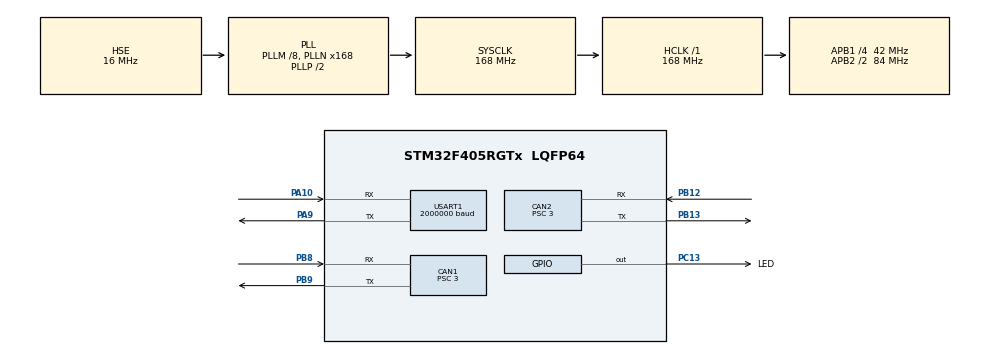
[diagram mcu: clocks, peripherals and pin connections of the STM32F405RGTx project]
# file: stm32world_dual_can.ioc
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CAN1.BS1=CAN_BS1_11TQ
CAN1.BS2=CAN_BS2_2TQ
CAN1.CalculateBaudRate=1000000
CAN1.CalculateTimeBit=1000
CAN1.CalculateTimeQuantum=71.42857142857143
CAN1.Mode=CAN_MODE_NORMAL
CAN1.Prescaler=3
CAN2.BS1=CAN_BS1_11TQ
CAN2.BS2=CAN_BS2_2TQ
CAN2.CalculateBaudRate=1000000
CAN2.CalculateTimeBit=1000
CAN2.CalculateTimeQuantum=71.42857142857143
CAN2.Prescaler=3
Mcu.Family=STM32F4
Mcu.Name=STM32F405RGTx
Mcu.Package=LQFP64
NVIC.CAN1_RX0_IRQn=true\:0\:0\:false\:false\:true\:true\:true\:true
NVIC.CAN1_RX1_IRQn=true\:0\:0\:false\:false\:true\:true\:true\:true
NVIC.CAN1_SCE_IRQn=true\:0\:0\:false\:false\:true\:true\:true\:true
NVIC.CAN1_TX_IRQn=true\:0\:0\:false\:false\:true\:true\:true\:true
NVIC.PriorityGroup=NVIC_PRIORITYGROUP_4
PA10.Mode=Asynchronous
PA10.Signal=USART1_RX
PA13.Mode=Trace_Asynchronous_SW
PA13.Signal=SYS_JTMS-SWDIO
PA14.Mode=Trace_Asynchronous_SW
PA14.Signal=SYS_JTCK-SWCLK
PA9.Mode=Asynchronous
PA9.Signal=USART1_TX
PB12.Mode=CAN_Activate
PB12.Signal=CAN2_RX
PB13.Mode=CAN_Activate
PB13.Signal=CAN2_TX
PB3.Mode=Trace_Asynchronous_SW
PB3.Signal=SYS_JTDO-SWO
PB8.Mode=CAN_Activate
PB8.Signal=CAN1_RX
PB9.Mode=CAN_Activate
PB9.Signal=CAN1_TX
PC13-ANTI_TAMP.GPIO_Label=LED
PC13-ANTI_TAMP.GPIO_ModeDefaultOutputPP=GPIO_MODE_OUTPUT_OD
PC13-ANTI_TAMP.GPIO_PuPd=GPIO_NOPULL
PC13-ANTI_TAMP.PinState=GPIO_PIN_SET
PC13-ANTI_TAMP.Signal=GPIO_Output
PH0-OSC_IN.Mode=HSE-External-Oscillator
PH0-OSC_IN.Signal=RCC_OSC_IN
PH1-OSC_OUT.Mode=HSE-External-Oscillator
PH1-OSC_OUT.Signal=RCC_OSC_OUT
ProjectManager.HeapSize=0x200
ProjectManager.StackSize=0x400
ProjectManager.TargetToolchain=STM32CubeIDE
RCC.48MHZClocksFreq_Value=48000000
RCC.AHBFreq_Value=168000000
RCC.APB1CLKDivider=RCC_HCLK_DIV4
RCC.APB1Freq_Value=42000000
RCC.APB1TimFreq_Value=84000000
RCC.APB2CLKDivider=RCC_HCLK_DIV2
RCC.APB2Freq_Value=84000000
RCC.APB2TimFreq_Value=168000000
RCC.CortexFreq_Value=168000000
RCC.HCLKFreq_Value=168000000
RCC.HSE_VALUE=16000000
RCC.HSI_VALUE=16000000
RCC.LSE_VALUE=32768
RCC.PLLM=8
RCC.PLLN=168
RCC.PLLQ=7
RCC.PLLSourceVirtual=RCC_PLLSOURCE_HSE
RCC.SYSCLKFreq_VALUE=168000000
RCC.SYSCLKSource=RCC_SYSCLKSOURCE_PLLCLK
RCC.VCOOutputFreq_Value=336000000
USART1.BaudRate=2000000
USART1.VirtualMode=VM_ASYNC
VP_RNG_VS_RNG.Mode=RNG_Activate
board=custom

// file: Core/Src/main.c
/* USER CODE BEGIN Header */
/**
 ******************************************************************************
 * @file           : main.c
 * @brief          : Main program body
 ******************************************************************************
 * @attention
 *
 * Copyright (c) 2024 Lars Boegild Thomsen <lth@stm32world.com>
 * All rights reserved.
 *
 * This software is licensed under terms that can be found in the LICENSE file
 * in the root directory of this software component.
 * If no LICENSE file comes with this software, it is provided AS-IS.
 *
 ******************************************************************************
 */
/* USER CODE END Header */
#include "main.h"

/* USER CODE BEGIN Includes */
#include <stdlib.h>
#include <stdio.h>
#include <string.h>
/* USER CODE END Includes */

/* USER CODE BEGIN PD */

// Example filter
#define CAN_RX_ID    0b10111111100
#define CAN_RX_MASK  0b11111111100

// Our Message IDs
#define CAN_ID_UPT     0b10111111100   // 0x5fc - 1532
#define CAN_ID_RND     0b10111111101   // 0x5fd - 1533

#define CAN_FILTER_ID_REMOTE 0b00010000

/* USER CODE END PD */

CAN_HandleTypeDef hcan1;
CAN_HandleTypeDef hcan2;

RNG_HandleTypeDef hrng;

UART_HandleTypeDef huart1;

/* USER CODE BEGIN PV */

CAN_TxHeaderTypeDef TxHeader;
CAN_RxHeaderTypeDef RxHeader;

uint8_t TxData[8];
uint8_t RxData[8];

uint32_t msg_count = 0;

/* USER CODE END PV */

void SystemClock_Config(void);
static void MX_GPIO_Init(void);
static void MX_USART1_UART_Init(void);
static void MX_CAN1_Init(void);
static void MX_CAN2_Init(void);
static void MX_RNG_Init(void);

/* USER CODE BEGIN 0 */

// Send printf to uart1
int _write(int fd, char *ptr, int len) {
    HAL_StatusTypeDef hstatus;

    if (fd == 1 || fd == 2) {
        hstatus = HAL_UART_Transmit(&huart1, (uint8_t*) ptr, len, HAL_MAX_DELAY);
        if (hstatus == HAL_OK)
            return len;
        else
            return -1;
    }
    return -1;
}

// CAN Callbacks

void HAL_CAN_TxMailbox0CompleteCallback(CAN_HandleTypeDef *hcan) {
    printf("HAL_CAN_TxMailbox0CompleteCallback\n");
}

void HAL_CAN_TxMailbox1CompleteCallback(CAN_HandleTypeDef *hcan) {
    printf("HAL_CAN_TxMailbox1CompleteCallback\n");
}

void HAL_CAN_TxMailbox2CompleteCallback(CAN_HandleTypeDef *hcan) {
    printf("HAL_CAN_TxMailbox2CompleteCallback\n");
}

void HAL_CAN_TxMailbox0AbortCallback(CAN_HandleTypeDef *hcan) {
    printf("HAL_CAN_TxMailbox0AbortCallback\n");
}

void HAL_CAN_TxMailbox1AbortCallback(CAN_HandleTypeDef *hcan) {
    printf("HAL_CAN_TxMailbox1AbortCallback\n");
}

void HAL_CAN_TxMailbox2AbortCallback(CAN_HandleTypeDef *hcan) {
    printf("HAL_CAN_TxMailbox2AbortCallback\n");
}

void HAL_CAN_RxFifo0MsgPendingCallback(CAN_HandleTypeDef *hcan) {
    printf("HAL_CAN_RxFifo0MsgPendingCallback\n");
    if (HAL_CAN_GetRxMessage(hcan, CAN_RX_FIFO0, &RxHeader, RxData) != HAL_OK) {
        printf("Error receiving\n");
        Error_Handler();
        //printf("Got message %lu - id=0x%04lx type=%lx len=0x%lx, data=%02x%02x%02x%02x%02x%02x%02x%02x\n", msg_count + 1, RxHeader.StdId, RxHeader.RTR, RxHeader.DLC, RxData[0], RxData[1], RxData[2], RxData[3], RxData[4], RxData[5], RxData[6], RxData[7]);
    }

    if (hcan->Instance == CAN1) {
        printf("Got message on CAN1\n");
        if (RxHeader.RTR == CAN_RTR_REMOTE) {
            if (RxHeader.StdId == CAN_ID_UPT) {
                TxHeader.DLC = 4;
                TxHeader.IDE = CAN_ID_STD;
                TxHeader.RTR = CAN_RTR_DATA;
                TxHeader.StdId = CAN_ID_UPT;

                uint32_t upt = uwTick;
                uint32_t mb0;
                if (HAL_CAN_AddTxMessage(&hcan1, &TxHeader, (uint8_t)upt, &mb0) != HAL_OK) {
                    Error_Handler();
                }
            } else if (RxHeader.StdId == CAN_ID_RND) {

            } else {
                printf("Unknown remote request on can 1\n");
            }
        } else {
            printf("Got data message on can1 - should not happen\n");
        }
    } else {
        printf("Got message on CAN1\n");
        if (RxHeader.RTR == CAN_RTR_DATA) {
            if (RxHeader.StdId == CAN_ID_UPT) {
                printf("CAN2 received uptime: %lu", RxData[0]);
            } else if (RxHeader.StdId == CAN_ID_RND) {
                printf("CAN2 received random: %lu", RxData[0]);
            } else {
                printf("Unknown remote request on can 1\n");
            }
        } else {
            printf("Got remote message on can2 - should not happen\n");
        }
    }

}

void HAL_CAN_RxFifo0FullCallback(CAN_HandleTypeDef *hcan) {
    printf("HAL_CAN_RxFifo0FullCallback\n");
}

void HAL_CAN_RxFifo1MsgPendingCallback(CAN_HandleTypeDef *hcan) {
    printf("HAL_CAN_RxFifo1MsgPendingCallback\n");
}

void HAL_CAN_RxFifo1FullCallback(CAN_HandleTypeDef *hcan) {
    printf("HAL_CAN_RxFifo1FullCallback\n");
}

void HAL_CAN_SleepCallback(CAN_HandleTypeDef *hcan) {
    printf("HAL_CAN_SleepCallback\n");
}

void HAL_CAN_WakeUpFromRxMsgCallback(CAN_HandleTypeDef *hcan) {
    printf("HAL_CAN_WakeUpFromRxMsgCallback\n");
}

void HAL_CAN_ErrorCallback(CAN_HandleTypeDef *hcan) {
    printf("HAL_CAN_ErrorCallback\n");
}

/* USER CODE END 0 */

int main(void)
{

  /* MCU Configuration--------------------------------------------------------*/

  /* Reset of all peripherals, Initializes the Flash interface and the Systick. */
  HAL_Init();

  /* Configure the system clock */
  SystemClock_Config();

  /* Initialize all configured peripherals */
  MX_GPIO_Init();
  MX_USART1_UART_Init();
  MX_CAN1_Init();
  MX_CAN2_Init();
  MX_RNG_Init();
  /* USER CODE BEGIN 2 */

    printf("\n\n\n--------\nStarting\n");

    CAN_FilterTypeDef canfilterconfig;

//    canfilterconfig.FilterActivation = CAN_FILTER_ENABLE;
//    canfilterconfig.FilterBank = 0;  // anything between 0 to SlaveStartFilterBank
//    canfilterconfig.SlaveStartFilterBank = 13;  // 13 to 27 are assigned to slave CAN (CAN 2) OR 0 to 12 are assgned to CAN1
//    canfilterconfig.FilterFIFOAssignment = CAN_RX_FIFO0;
//    canfilterconfig.FilterIdLow = CAN_RX_ID << 5;
//    //canfilterconfig.FilterIdHigh = 0x0000;     // Will match everything if the mask is 0x0000
//    canfilterconfig.FilterMaskIdLow = CAN_RX_MASK << 5;
//    //canfilterconfig.FilterMaskIdHigh = 0x0000; // Accept everything
//    canfilterconfig.FilterMode = CAN_FILTERMODE_IDMASK;
//    canfilterconfig.FilterScale = CAN_FILTERSCALE_16BIT;

    canfilterconfig.FilterActivation = CAN_FILTER_ENABLE;
    canfilterconfig.FilterBank = 0;  // anything between 0 to SlaveStartFilterBank
    canfilterconfig.SlaveStartFilterBank = 13;  // 13 to 27 are assigned to slave CAN (CAN 2) OR 0 to 12 are assgned to CAN1
    canfilterconfig.FilterFIFOAssignment = CAN_RX_FIFO0;
    canfilterconfig.FilterIdLow = CAN_ID_UPT << 5 | CAN_FILTER_ID_REMOTE;
    canfilterconfig.FilterIdHigh = CAN_ID_RND << 5 | CAN_FILTER_ID_REMOTE;
    //canfilterconfig.FilterMaskIdLow = CAN_ID_2 << 5;
    //canfilterconfig.FilterMaskIdHigh = (CAN_ID_3 << 5) | CAN_FILTER_ID_REMOTE;
    canfilterconfig.FilterMode = CAN_FILTERMODE_IDLIST;
    canfilterconfig.FilterScale = CAN_FILTERSCALE_16BIT;

    HAL_CAN_ConfigFilter(&hcan1, &canfilterconfig);

    canfilterconfig.FilterActivation = CAN_FILTER_ENABLE;
    canfilterconfig.FilterBank = 13;  // anything between 0 to SlaveStartFilterBank
    canfilterconfig.SlaveStartFilterBank = 13;  // 13 to 27 are assigned to slave CAN (CAN 2) OR 0 to 12 are assgned to CAN1
    canfilterconfig.FilterFIFOAssignment = CAN_RX_FIFO0;
    canfilterconfig.FilterIdLow = CAN_ID_UPT << 5;
    canfilterconfig.FilterIdHigh = CAN_ID_RND << 5;
    //canfilterconfig.FilterMaskIdLow = CAN_ID_2 << 5;
    //canfilterconfig.FilterMaskIdHigh = (CAN_ID_3 << 5) | CAN_FILTER_ID_REMOTE;
    canfilterconfig.FilterMode = CAN_FILTERMODE_IDLIST;
    canfilterconfig.FilterScale = CAN_FILTERSCALE_16BIT;

    HAL_CAN_ConfigFilter(&hcan2, &canfilterconfig);

    HAL_CAN_Start(&hcan1);
    HAL_CAN_Start(&hcan2);

    HAL_CAN_ActivateNotification(
            &hcan1,
            CAN_IT_TX_MAILBOX_EMPTY |
            CAN_IT_RX_FIFO0_MSG_PENDING |
            CAN_IT_RX_FIFO0_FULL |
            CAN_IT_RX_FIFO0_OVERRUN |
            CAN_IT_RX_FIFO1_MSG_PENDING |
            CAN_IT_RX_FIFO1_FULL |
            CAN_IT_RX_FIFO1_OVERRUN |
            CAN_IT_WAKEUP |
            CAN_IT_SLEEP_ACK |
            CAN_IT_ERROR_WARNING |
            CAN_IT_ERROR_PASSIVE |
            CAN_IT_BUSOFF |
            CAN_IT_LAST_ERROR_CODE |
            CAN_IT_ERROR
            );

    HAL_CAN_ActivateNotification(
            &hcan2,
            CAN_IT_TX_MAILBOX_EMPTY |
            CAN_IT_RX_FIFO0_MSG_PENDING |
            CAN_IT_RX_FIFO0_FULL |
            CAN_IT_RX_FIFO0_OVERRUN |
            CAN_IT_RX_FIFO1_MSG_PENDING |
            CAN_IT_RX_FIFO1_FULL |
            CAN_IT_RX_FIFO1_OVERRUN |
            CAN_IT_WAKEUP |
            CAN_IT_SLEEP_ACK |
            CAN_IT_ERROR_WARNING |
            CAN_IT_ERROR_PASSIVE |
            CAN_IT_BUSOFF |
            CAN_IT_LAST_ERROR_CODE |
            CAN_IT_ERROR
            );

  /* USER CODE END 2 */

  /* Infinite loop */
  /* USER CODE BEGIN WHILE */

    uint32_t now = 0, loop_cnt = 0, next_blink = 500, next_tick = 1000, next_tx0 = 5000, next_tx1 = 10000;

    while (1) {

        now = uwTick;

        if (now >= next_blink) {
            HAL_GPIO_TogglePin(LED_GPIO_Port, LED_Pin);
            next_blink = now + 500;
        }

        if (now >= next_tick) {
            printf("Tick %lu (loop=%lu)\n", now / 1000, loop_cnt);
            loop_cnt = 0;
            next_tick = now + 1000;
        }

        if (now >= next_tx0) {

            printf("CAN2 Requesting uptime\n");

            TxHeader.DLC = 4;
            TxHeader.IDE = CAN_ID_STD;
            TxHeader.RTR = CAN_RTR_REMOTE;
            TxHeader.StdId = CAN_ID_UPT;

            uint32_t mb0;
            if (HAL_CAN_AddTxMessage(&hcan2, &TxHeader, NULL, &mb0) != HAL_OK) {
                Error_Handler();
            }

            next_tx0 = now + 10000;
        }

        if (now >= next_tx1) {

            printf("CAN2 Requesting random\n");

            TxHeader.DLC = 4;
            TxHeader.IDE = CAN_ID_STD;
            TxHeader.RTR = CAN_RTR_REMOTE;
            TxHeader.StdId = CAN_ID_RND;

            uint32_t mb0;
            if (HAL_CAN_AddTxMessage(&hcan2, &TxHeader, NULL, &mb0) != HAL_OK) {
                Error_Handler();
            }

            next_tx1 = now + 10000;
        }

        ++loop_cnt;

    /* USER CODE END WHILE */

    }
}

void SystemClock_Config(void)
{
  RCC_OscInitTypeDef RCC_OscInitStruct = {0};
  RCC_ClkInitTypeDef RCC_ClkInitStruct = {0};

  /** Configure the main internal regulator output voltage
  */
  __HAL_RCC_PWR_CLK_ENABLE();
  __HAL_PWR_VOLTAGESCALING_CONFIG(PWR_REGULATOR_VOLTAGE_SCALE1);

  /** Initializes the RCC Oscillators according to the specified parameters
  * in the RCC_OscInitTypeDef structure.
  */
  RCC_OscInitStruct.OscillatorType = RCC_OSCILLATORTYPE_HSE;
  RCC_OscInitStruct.HSEState = RCC_HSE_ON;
  RCC_OscInitStruct.PLL.PLLState = RCC_PLL_ON;
  RCC_OscInitStruct.PLL.PLLSource = RCC_PLLSOURCE_HSE;
  RCC_OscInitStruct.PLL.PLLM = 8;
  RCC_OscInitStruct.PLL.PLLN = 168;
  RCC_OscInitStruct.PLL.PLLP = RCC_PLLP_DIV2;
  RCC_OscInitStruct.PLL.PLLQ = 7;
  if (HAL_RCC_OscConfig(&RCC_OscInitStruct) != HAL_OK)
  {
    Error_Handler();
  }

  /** Initializes the CPU, AHB and APB buses clocks
  */
  RCC_ClkInitStruct.ClockType = RCC_CLOCKTYPE_HCLK|RCC_CLOCKTYPE_SYSCLK
                              |RCC_CLOCKTYPE_PCLK1|RCC_CLOCKTYPE_PCLK2;
  RCC_ClkInitStruct.SYSCLKSource = RCC_SYSCLKSOURCE_PLLCLK;
  RCC_ClkInitStruct.AHBCLKDivider = RCC_SYSCLK_DIV1;
  RCC_ClkInitStruct.APB1CLKDivider = RCC_HCLK_DIV4;
  RCC_ClkInitStruct.APB2CLKDivider = RCC_HCLK_DIV2;

  if (HAL_RCC_ClockConfig(&RCC_ClkInitStruct, FLASH_LATENCY_5) != HAL_OK)
  {
    Error_Handler();
  }
}

static void MX_CAN1_Init(void)
{

  hcan1.Instance = CAN1;
  hcan1.Init.Prescaler = 3;
  hcan1.Init.Mode = CAN_MODE_NORMAL;
  hcan1.Init.SyncJumpWidth = CAN_SJW_1TQ;
  hcan1.Init.TimeSeg1 = CAN_BS1_11TQ;
  hcan1.Init.TimeSeg2 = CAN_BS2_2TQ;
  hcan1.Init.TimeTriggeredMode = DISABLE;
  hcan1.Init.AutoBusOff = DISABLE;
  hcan1.Init.AutoWakeUp = DISABLE;
  hcan1.Init.AutoRetransmission = DISABLE;
  hcan1.Init.ReceiveFifoLocked = DISABLE;
  hcan1.Init.TransmitFifoPriority = DISABLE;
  if (HAL_CAN_Init(&hcan1) != HAL_OK)
  {
    Error_Handler();
  }

}

static void MX_CAN2_Init(void)
{

  hcan2.Instance = CAN2;
  hcan2.Init.Prescaler = 3;
  hcan2.Init.Mode = CAN_MODE_NORMAL;
  hcan2.Init.SyncJumpWidth = CAN_SJW_1TQ;
  hcan2.Init.TimeSeg1 = CAN_BS1_11TQ;
  hcan2.Init.TimeSeg2 = CAN_BS2_2TQ;
  hcan2.Init.TimeTriggeredMode = DISABLE;
  hcan2.Init.AutoBusOff = DISABLE;
  hcan2.Init.AutoWakeUp = DISABLE;
  hcan2.Init.AutoRetransmission = DISABLE;
  hcan2.Init.ReceiveFifoLocked = DISABLE;
  hcan2.Init.TransmitFifoPriority = DISABLE;
  if (HAL_CAN_Init(&hcan2) != HAL_OK)
  {
    Error_Handler();
  }

}

static void MX_RNG_Init(void)
{

  hrng.Instance = RNG;
  if (HAL_RNG_Init(&hrng) != HAL_OK)
  {
    Error_Handler();
  }

}

static void MX_USART1_UART_Init(void)
{

  huart1.Instance = USART1;
  huart1.Init.BaudRate = 2000000;
  huart1.Init.WordLength = UART_WORDLENGTH_8B;
  huart1.Init.StopBits = UART_STOPBITS_1;
  huart1.Init.Parity = UART_PARITY_NONE;
  huart1.Init.Mode = UART_MODE_TX_RX;
  huart1.Init.HwFlowCtl = UART_HWCONTROL_NONE;
  huart1.Init.OverSampling = UART_OVERSAMPLING_16;
  if (HAL_UART_Init(&huart1) != HAL_OK)
  {
    Error_Handler();
  }

}

static void MX_GPIO_Init(void)
{
  GPIO_InitTypeDef GPIO_InitStruct = {0};

  /* GPIO Ports Clock Enable */
  __HAL_RCC_GPIOC_CLK_ENABLE();
  __HAL_RCC_GPIOH_CLK_ENABLE();
  __HAL_RCC_GPIOB_CLK_ENABLE();
  __HAL_RCC_GPIOA_CLK_ENABLE();

  /*Configure GPIO pin Output Level */
  HAL_GPIO_WritePin(LED_GPIO_Port, LED_Pin, GPIO_PIN_SET);

  /*Configure GPIO pin : LED_Pin */
  GPIO_InitStruct.Pin = LED_Pin;
  GPIO_InitStruct.Mode = GPIO_MODE_OUTPUT_OD;
  GPIO_InitStruct.Pull = GPIO_NOPULL;
  GPIO_InitStruct.Speed = GPIO_SPEED_FREQ_LOW;
  HAL_GPIO_Init(LED_GPIO_Port, &GPIO_InitStruct);

}

void Error_Handler(void)
{
    __disable_irq();
    while (1)
    {
    }
}
